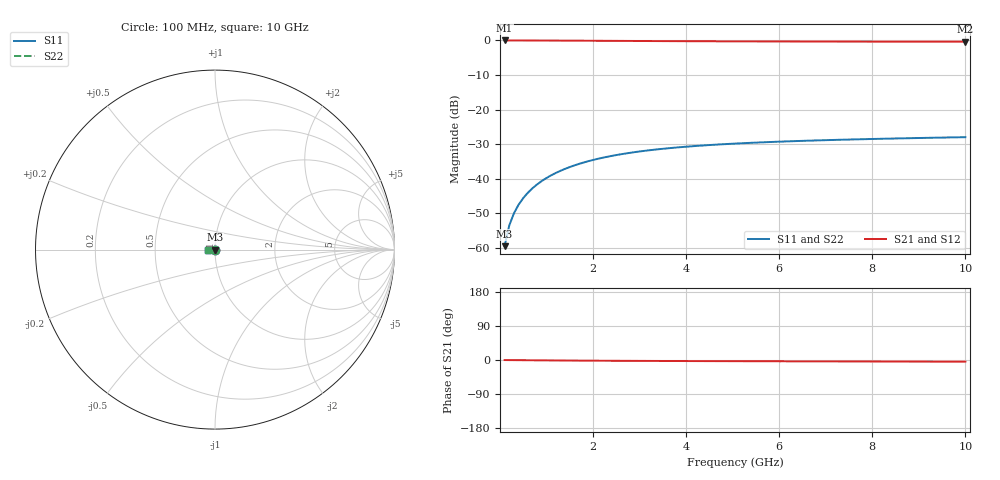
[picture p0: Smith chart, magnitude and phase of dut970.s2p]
! Touchstone file exported from HFSS 2024.1.0
!  File:  C:/UserFiles/LocalFiles/RDL_TSV_Batchsim/temp_TSV1_970_1779951007.aedt
!  Generated:  02:53:57 PM May 28, 2026
!  Design:  TSV1
!  Project:  temp_TSV1_970_1779951007
!  Setup:  Setup1
!  Solution:  Sweep
! Variables:
!  dtsv = 9.96um
!  hbump = 3um
!  htsv = 68.8um
!  lrdl = 252.1521522um
!  p = 40
!  p1 = 48.11um
!  t = 500um
!  trdl = 3um
!  wrdl = 24.89489489um
# GHz S MA R 50.000000
! Terminal data exported
! Port[1] = TSV22_T1
! Port[2] = TSV22_T2
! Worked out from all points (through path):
!   100 points, 100 MHz to 10 GHz, reference 50 ohm
!   highest |S21| = 0.00 dB at 100 MHz (marker M1); lowest = -0.4 dB at 10 GHz (marker M2)
!   lowest |S11| = -59.5 dB at 100 MHz (marker M3), VSWR 1.00, Z = 50 - j0.106 ohm
!   |S11| at or under -10 dB: start of sweep to end of sweep
!   |S22| runs from -59.5 to -28.0 dB; largest |S21 - S12| = 9.4e-15
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0.1  0.001063 -84.5  0.9998 -0.1  0.9998 -0.1  0.001063 -84.5
! Gamma 0 0 0 0
! Port Impedance 50 0 50 0
0.2  0.002116 -89.7  0.9997 -0.2  0.9997 -0.2  0.002116 -89.7
0.3  0.003172 -92.6  0.9995 -0.3  0.9995 -0.3  0.003172 -92.6
0.4  0.004224 -95.0  0.9993 -0.4  0.9993 -0.4  0.004224 -95.0
0.5  0.005269 -97.1  0.999 -0.5  0.999 -0.5  0.005269 -97.1
0.6  0.006302 -99.1  0.9986 -0.6  0.9986 -0.6  0.006302 -99.1
0.7  0.007322 -101.0  0.9982 -0.7  0.9982 -0.7  0.007322 -101.0
0.8  0.008327 -102.9  0.9977 -0.8  0.9977 -0.8  0.008327 -102.9
0.9  0.009314 -104.7  0.9972 -0.9  0.9972 -0.9  0.009314 -104.7
1.1  0.01123 -108.2  0.9961 -1.1  0.9961 -1.1  0.01123 -108.2
1.4  0.01394 -113.2  0.9941 -1.4  0.9941 -1.4  0.01394 -113.2
1.6  0.01564 -116.4  0.9926 -1.5  0.9926 -1.5  0.01564 -116.4
1.8  0.01723 -119.4  0.9911 -1.7  0.9911 -1.7  0.01723 -119.4
2.1  0.01944 -123.7  0.9888 -1.9  0.9888 -1.9  0.01944 -123.7
2.5  0.02206 -129.1  0.9857 -2.1  0.9857 -2.1  0.02206 -129.1
2.9  0.02433 -133.9  0.9827 -2.3  0.9827 -2.3  0.02433 -133.9
3.4  0.02675 -139.4  0.9793 -2.5  0.9793 -2.5  0.02674 -139.4
4.2  0.02982 -147.0  0.9745 -2.8  0.9745 -2.8  0.02982 -147.0
5.1  0.03243 -154.2  0.9702 -3.1  0.9702 -3.1  0.03243 -154.2
6.7  0.03572 -164.6  0.9647 -3.6  0.9647 -3.6  0.03572 -164.6
8.4  0.03818 -173.3  0.9608 -4.0  0.9608 -4.0  0.03818 -173.3
10  0.04 179.8  0.9583 -4.5  0.9583 -4.5  0.04 179.8
